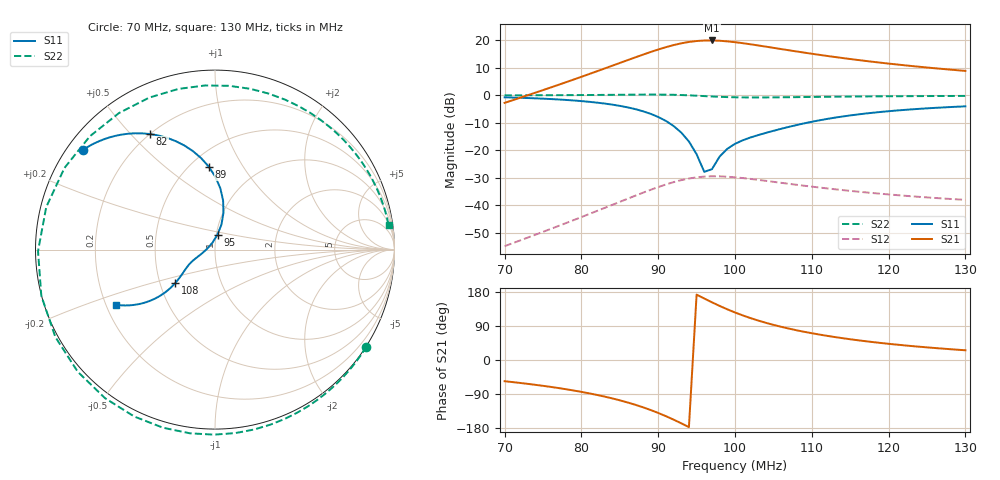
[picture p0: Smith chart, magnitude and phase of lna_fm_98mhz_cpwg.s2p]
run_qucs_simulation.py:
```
import cmath
import subprocess
import shutil
from pathlib import Path
from parse_qucs import parse_qucs_dat

def run_sim(netlist_path, dat_path):
    cmd = [r'D:\Programs\Qucs-S\bin\qucsator_rf.exe', '-i', str(netlist_path), '-o', str(dat_path)]
    res = subprocess.run(cmd, capture_output=True, text=True)
    if res.returncode != 0:
        print(f"Error running Qucsator on {netlist_path}:\n{res.stderr}")
        return False
    return True

def analyze(dat_path, label="QUCS Simulation"):
    freqs, data = parse_qucs_dat(dat_path)
    print(f"\n==========================================================================================")
    print(f" {label}")
    print(f"==========================================================================================")
    print(f"{'Freq (MHz)':>10} | {'S21 Gain (dB)':>14} | {'S11 Match (dB)':>14} | {'S22 Out (dB)':>12} | {'S12 Iso (dB)':>12} | {'K-factor':>9} | {'Zin (Ohm)':>14}")
    print(f"{'-'*10}-+-{'-'*14}-+-{'-'*14}-+-{'-'*12}-+-{'-'*12}-+-{'-'*9}-+-{'-'*14}")

    f_mhz_list = [round(f / 1e6, 1) for f in freqs]
    highlight_freqs = [88.0, 90.0, 92.0, 94.0, 96.0, 98.0, 100.0, 102.0, 104.0, 106.0, 108.0]

    for f_target in highlight_freqs:
        if f_target in f_mhz_list:
            idx = f_mhz_list.index(f_target)
            s11 = data['S[1,1]'][idx]
            s21 = data['S[2,1]'][idx]
            s12 = data['S[1,2]'][idx]
            s22 = data['S[2,2]'][idx]

            s11_db = 20 * cmath.log10(abs(s11)).real
            s21_db = 20 * cmath.log10(abs(s21)).real
            s12_db = 20 * cmath.log10(abs(s12)).real
            s22_db = 20 * cmath.log10(abs(s22)).real

            # Stability K-factor & Delta
            delta = (s11 * s22) - (s12 * s21)
            denom = 2 * abs(s12 * s21)
            k = (1 - abs(s11)**2 - abs(s22)**2 + abs(delta)**2) / denom if denom > 0 else 999.0

            # Input impedance
            zin = 50.0 * (1.0 + s11) / (1.0 - s11)
            zin_str = f"{zin.real:.1f} {'+' if zin.imag >= 0 else '-'} j{abs(zin.imag):.1f}"

            marker = " <-- CENTER" if f_target == 98.0 else ""
            print(f"{f_target:10.1f} | {s21_db:+14.2f} | {s11_db:+14.2f} | {s22_db:+12.2f} | {s12_db:+12.2f} | {k:9.2f} | {zin_str:>14}{marker}")

    # Center frequency detailed analysis
    idx_98 = f_mhz_list.index(98.0)
    s11_98 = data['S[1,1]'][idx_98]
    s21_98 = data['S[2,1]'][idx_98]
    s12_98 = data['S[1,2]'][idx_98]
    s22_98 = data['S[2,2]'][idx_98]
    vswr_in = (1 + abs(s11_98)) / (1 - abs(s11_98))
    zin_98 = 50.0 * (1.0 + s11_98) / (1.0 - s11_98)
    zout_98 = 50.0 * (1.0 + s22_98) / (1.0 - s22_98)

    print(f"\n--- Detailed Summary at 98.0 MHz (FM Center) ---")
    print(f"  * S21 (Transducer Power Gain): {20*cmath.log10(abs(s21_98)).real:+.2f} dB (Linear Mag = {abs(s21_98):.2f}, Phase = {cmath.phase(s21_98)*180/3.14159:+.1f}°)")
    print(f"  * S11 (Input Return Loss)    : {20*cmath.log10(abs(s11_98)).real:+.2f} dB (Input VSWR = {vswr_in:.2f}:1)")
    print(f"  * Input Impedance Zin        : {zin_98.real:.2f} + j{zin_98.imag:.2f} Ohm")
    print(f"  * S12 (Reverse Isolation)    : {20*cmath.log10(abs(s12_98)).real:+.2f} dB")
    print(f"  * S22 (Output Match)         : {20*cmath.log10(abs(s22_98)).real:+.2f} dB")
    print(f"  * Output Impedance Zout      : {zout_98.real:.2f} + j{zout_98.imag:.2f} Ohm")

def main():
    print("Running QUCS Simulation with CPWG Transmission Line Models...")
    if run_sim('lna_fm_98mhz_qucs_cpwg.net', 'lna_fm_98mhz_qucs_cpwg.dat'):
        analyze('lna_fm_98mhz_qucs_cpwg.dat', "Model: CPWG Transmission Lines (Physical PCB Microstrip/CPWG on 1.6mm FR-4)")

    # Also export Touchstone .s2p file
    cmd_conv = [r'D:\Programs\Qucs-S\bin\qucsconv_rf.exe', '-if', 'qucsdata', '-of', 'touchstone', '-i', 'lna_fm_98mhz_qucs_cpwg.dat', '-o', 'lna_fm_98mhz_cpwg.s2p']
    subprocess.run(cmd_conv, capture_output=True)
    print("\n[OK] Touchstone s2p exported to: lna_fm_98mhz_cpwg.s2p")

    # Run plot script
    cmd_plot = [r'D:\Programs\KiCad\bin\python.exe', 'plot_qucs_s_params.py']
    subprocess.run(cmd_plot, capture_output=True)
    print("[OK] S-Parameter plot updated: qucs_s_parameters_cpwg.svg")

if __name__ == '__main__':
    main()
```
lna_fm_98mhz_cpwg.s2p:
# HZ S RI R 50
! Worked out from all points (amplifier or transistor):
!   61 points, 70 MHz to 130 MHz, reference 50 ohm
!   highest |S21| = 20.0 dB at 97 MHz (marker M1)
!   |S21| within 3 dB of that: 90.35 MHz to 105.7 MHz (15.36 MHz wide, 15.7 % of centre)
!   unconditionally stable (mu >= 1): nowhere
!   at 80 MHz: K = 0.35, MSG = 25.5 dB, |S12| = -44.3 dB
!   at 100 MHz: K = 0.28, MSG = 24.6 dB, |S12| = -29.8 dB
!   at 130 MHz: K = 0.29, MSG = 23.5 dB, |S12| = -38.1 dB
!   S11 on the Smith chart (normalised r, x): 70 MHz: 0.05, +0.34; 82 MHz: 0.20, +0.57; 89 MHz: 0.61, +0.72; 95 MHz: 1.01, +0.17; 108 MHz: 0.60, -0.24; 130 MHz: 0.24, -0.25
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7e7  -0.7332 0.557  0.4082 -0.6054  0.00166 0.000687  0.844 -0.5399
8.2e7  -0.3615 0.6438  -0.0989 -2.738  0.00769 -0.00152  0.4549 -0.9103
8.9e7  -0.0337 0.4609  -4.104 -4.58  0.0123 -0.0145  -0.2891 -0.9926
9.2e7  0.0452 0.2736  -7.595 -3.169  0.00685 -0.0254  -0.7646 -0.6807
9.5e7  0.014 0.0835  -9.679 1.272  -0.00812 -0.0311  -0.986 -0.00831
9.7e7  -0.0452 0.00313  -8.842 4.655  -0.0191 -0.0277  -0.8388 0.4547
1e8  -0.118 -0.0571  -5.388 7.575  -0.0282 -0.0156  -0.3661 0.8469
1.04e8  -0.1704 -0.1179  -1.107 7.638  -0.0278 -0.00111  0.1971 0.8957
1.08e8  -0.2203 -0.1851  1.251 6.181  -0.0225 0.00686  0.5321 0.761
1.16e8  -0.3509 -0.2807  2.707 3.478  -0.013 0.0119  0.8295 0.4702
1.3e8  -0.551 -0.3077  2.515 1.209  -0.00477 0.0116  0.9674 0.1351
